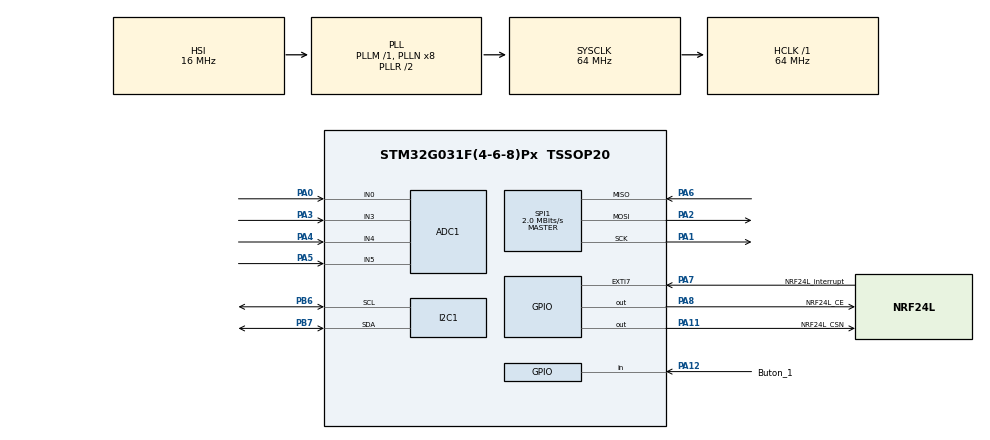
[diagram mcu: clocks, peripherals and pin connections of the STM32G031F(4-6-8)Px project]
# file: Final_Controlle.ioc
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ADC1.Channel-2\#ChannelRegularConversion=ADC_CHANNEL_0
ADC1.ContinuousConvMode=ENABLE
ADC1.NbrOfConversionFlag=1
ADC1.Rank-2\#ChannelRegularConversion=1
ADC1.SamplingTime-2\#ChannelRegularConversion=ADC_SAMPLINGTIME_COMMON_1
ADC1.SelectedChannel=ADC_CHANNEL_0|ADC_CHANNEL_3|ADC_CHANNEL_4|ADC_CHANNEL_5
ADC1.master=1
Dma.ADC1.0.Direction=DMA_PERIPH_TO_MEMORY
Dma.ADC1.0.EventEnable=DISABLE
Dma.ADC1.0.Instance=DMA1_Channel1
Dma.ADC1.0.MemDataAlignment=DMA_MDATAALIGN_WORD
Dma.ADC1.0.MemInc=DMA_MINC_ENABLE
Dma.ADC1.0.Mode=DMA_CIRCULAR
Dma.ADC1.0.PeriphDataAlignment=DMA_PDATAALIGN_WORD
Dma.ADC1.0.PeriphInc=DMA_PINC_DISABLE
Dma.ADC1.0.Polarity=HAL_DMAMUX_REQ_GEN_RISING
Dma.ADC1.0.Priority=DMA_PRIORITY_LOW
Dma.ADC1.0.RequestNumber=1
Dma.ADC1.0.SignalID=NONE
Dma.ADC1.0.SyncEnable=DISABLE
Dma.ADC1.0.SyncPolarity=HAL_DMAMUX_SYNC_NO_EVENT
Dma.ADC1.0.SyncRequestNumber=1
Dma.ADC1.0.SyncSignalID=NONE
Dma.Request0=ADC1
I2C1.Timing=0x10707DBC
Mcu.Family=STM32G0
Mcu.Name=STM32G031F(4-6-8)Px
Mcu.Package=TSSOP20
NVIC.DMA1_Channel1_IRQn=true\:0\:0\:false\:false\:true\:false\:true\:true
PA0.Mode=IN0
PA0.Signal=ADC1_IN0
PA1.Mode=Full_Duplex_Master
PA1.Signal=SPI1_SCK
PA11\ [PA9].GPIO_Label=NRF24L_CSN
PA11\ [PA9].Signal=GPIO_Output
PA12\ [PA10].GPIO_Label=Buton_1
PA12\ [PA10].Signal=GPIO_Input
PA13.Mode=Serial_Wire
PA13.Signal=SYS_SWDIO
PA14-BOOT0.Mode=Serial_Wire
PA14-BOOT0.Signal=SYS_SWCLK
PA14-BOOT0__PA15.StandardMode=true
PA2.Mode=Full_Duplex_Master
PA2.Signal=SPI1_MOSI
PA3.Mode=IN3
PA3.Signal=ADC1_IN3
PA4.Mode=IN4
PA4.Signal=ADC1_IN4
PA5.Mode=IN5
PA5.Signal=ADC1_IN5
PA6.Mode=Full_Duplex_Master
PA6.Signal=SPI1_MISO
PA7.GPIO_Label=NRF24L_interrupt
PA7.Signal=GPXTI7
PA8.GPIO_Label=NRF24L_CE
PA8.Signal=GPIO_Output
PB0__PB1__PB2__PA8.StandardMode=true
PB3__PB4__PB5__PB6.StandardMode=true
PB6.Mode=I2C
PB6.Signal=I2C1_SCL
PB7.Mode=I2C
PB7.Signal=I2C1_SDA
PB7__PB8.StandardMode=true
PC14-OSC32_IN\ (PC14).Mode=LSE-External-Oscillator
PC14-OSC32_IN\ (PC14).Signal=RCC_OSC32_IN
PC14-OSC32_IN\ (PC14)__PB9.StandardMode=true
PC15-OSC32_OUT\ (PC15).Mode=LSE-External-Oscillator
PC15-OSC32_OUT\ (PC15).Signal=RCC_OSC32_OUT
ProjectManager.HeapSize=0x200
ProjectManager.StackSize=0x400
ProjectManager.TargetToolchain=STM32CubeIDE
RCC.ADCFreq_Value=64000000
RCC.AHBFreq_Value=64000000
RCC.CortexFreq_Value=64000000
RCC.EXTERNAL_CLOCK_VALUE=12288000
RCC.HCLKFreq_Value=64000000
RCC.HSE_VALUE=8000000
RCC.HSI_VALUE=16000000
RCC.SYSCLKFreq_VALUE=64000000
RCC.SYSCLKSource=RCC_SYSCLKSOURCE_PLLCLK
RCC.VCOOutputFreq_Value=128000000
SPI1.BaudRatePrescaler=SPI_BAUDRATEPRESCALER_32
SPI1.CalculateBaudRate=2.0 MBits/s
SPI1.Direction=SPI_DIRECTION_2LINES
SPI1.Mode=SPI_MODE_MASTER
SPI1.VirtualType=VM_MASTER
VP_TIM1_VS_ClockSourceINT.Mode=Internal
board=custom

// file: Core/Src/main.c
/* USER CODE BEGIN Header */
/**
  ******************************************************************************
  * @file           : main.c
  * @brief          : Main program body
  ******************************************************************************
  * @attention
  *
  * Copyright (c) 2024 STMicroelectronics.
  * All rights reserved.
  *
  * This software is licensed under terms that can be found in the LICENSE file
  * in the root directory of this software component.
  * If no LICENSE file comes with this software, it is provided AS-IS.
  *
  ******************************************************************************
  */
/* USER CODE END Header */
#include "main.h"

/* USER CODE BEGIN Includes */
#include "i2c-lcd.h"
#include "ssd1306.h"
#include "nRF24L01P.h"
#include "dwt_delay.h"
/* USER CODE END Includes */

/* USER CODE BEGIN PTD */
void NRFSendData(char * nrfID, char * nrfData);
void NRF_main_init(void);

uint32_t adc_values[4];
nRF24L01P myNRF;
char RXBuffer[32];
char TXBuffer[32];
char Adc_Val1[24];
char Adc_Val2[32];
char regStatus;
JoyStick_Val pJoy;
/* USER CODE END PTD */

ADC_HandleTypeDef hadc1;
DMA_HandleTypeDef hdma_adc1;

I2C_HandleTypeDef hi2c1;

SPI_HandleTypeDef hspi1;

TIM_HandleTypeDef htim1;

void SystemClock_Config(void);
static void MX_GPIO_Init(void);
static void MX_DMA_Init(void);
static void MX_ADC1_Init(void);
static void MX_I2C1_Init(void);
static void MX_SPI1_Init(void);
static void MX_TIM1_Init(void);

int main(void)
{

  /* MCU Configuration--------------------------------------------------------*/

  /* Reset of all peripherals, Initializes the Flash interface and the Systick. */
  HAL_Init();

  /* Configure the system clock */
  SystemClock_Config();

  /* Initialize all configured peripherals */
  MX_GPIO_Init();
  MX_DMA_Init();
  MX_ADC1_Init();
  MX_I2C1_Init();
  MX_SPI1_Init();
  MX_TIM1_Init();
  /* USER CODE BEGIN 2 */
  ssd1306_Init();
  HAL_Delay(100);
  DWT_Init();
  NRF_main_init();
  HAL_Delay(1000);
  /* USER CODE END 2 */

  /* Infinite loop */
  while (1)
  {

    /* USER CODE BEGIN 3 */
    	  Joystick_read(&pJoy);
	  HAL_Delay(10);
	  uint16_t T1= __HAL_TIM_SET_COUNTER(&htim1,0);
	  NRFSendData("00000", Adc_Val1);
	  HAL_Delay(100);

  	  if((myNRF.RXIRQ==1) && (!myNRF.Busy))
  	  {
  	  HAL_GPIO_TogglePin(GPIOC, GPIO_PIN_13);
  	 HAL_Delay(10);
  	  myNRF.RXIRQ==0;

  	  }

	  uint16_t T2 = __HAL_TIM_GET_COUNTER(&htim1);

	  uint16_t T= T2-T1;
  }
  /* USER CODE END 3 */
}

void SystemClock_Config(void)
{
  RCC_OscInitTypeDef RCC_OscInitStruct = {0};
  RCC_ClkInitTypeDef RCC_ClkInitStruct = {0};

  /** Configure the main internal regulator output voltage
  */
  HAL_PWREx_ControlVoltageScaling(PWR_REGULATOR_VOLTAGE_SCALE1);

  /** Initializes the RCC Oscillators according to the specified parameters
  * in the RCC_OscInitTypeDef structure.
  */
  RCC_OscInitStruct.OscillatorType = RCC_OSCILLATORTYPE_HSI;
  RCC_OscInitStruct.HSIState = RCC_HSI_ON;
  RCC_OscInitStruct.HSIDiv = RCC_HSI_DIV1;
  RCC_OscInitStruct.HSICalibrationValue = RCC_HSICALIBRATION_DEFAULT;
  RCC_OscInitStruct.PLL.PLLState = RCC_PLL_ON;
  RCC_OscInitStruct.PLL.PLLSource = RCC_PLLSOURCE_HSI;
  RCC_OscInitStruct.PLL.PLLM = RCC_PLLM_DIV1;
  RCC_OscInitStruct.PLL.PLLN = 8;
  RCC_OscInitStruct.PLL.PLLP = RCC_PLLP_DIV2;
  RCC_OscInitStruct.PLL.PLLQ = RCC_PLLQ_DIV2;
  RCC_OscInitStruct.PLL.PLLR = RCC_PLLR_DIV2;
  if (HAL_RCC_OscConfig(&RCC_OscInitStruct) != HAL_OK)
  {
    Error_Handler();
  }

  /** Initializes the CPU, AHB and APB buses clocks
  */
  RCC_ClkInitStruct.ClockType = RCC_CLOCKTYPE_HCLK|RCC_CLOCKTYPE_SYSCLK
                              |RCC_CLOCKTYPE_PCLK1;
  RCC_ClkInitStruct.SYSCLKSource = RCC_SYSCLKSOURCE_PLLCLK;
  RCC_ClkInitStruct.AHBCLKDivider = RCC_SYSCLK_DIV1;
  RCC_ClkInitStruct.APB1CLKDivider = RCC_HCLK_DIV1;

  if (HAL_RCC_ClockConfig(&RCC_ClkInitStruct, FLASH_LATENCY_2) != HAL_OK)
  {
    Error_Handler();
  }
}

static void MX_ADC1_Init(void)
{

  ADC_ChannelConfTypeDef sConfig = {0};

  /** Configure the global features of the ADC (Clock, Resolution, Data Alignment and number of conversion)
  */
  hadc1.Instance = ADC1;
  hadc1.Init.ClockPrescaler = ADC_CLOCK_SYNC_PCLK_DIV2;
  hadc1.Init.Resolution = ADC_RESOLUTION_12B;
  hadc1.Init.DataAlign = ADC_DATAALIGN_RIGHT;
  hadc1.Init.ScanConvMode = ADC_SCAN_DISABLE;
  hadc1.Init.EOCSelection = ADC_EOC_SINGLE_CONV;
  hadc1.Init.LowPowerAutoWait = DISABLE;
  hadc1.Init.LowPowerAutoPowerOff = DISABLE;
  hadc1.Init.ContinuousConvMode = ENABLE;
  hadc1.Init.NbrOfConversion = 1;
  hadc1.Init.ExternalTrigConv = ADC_SOFTWARE_START;
  hadc1.Init.ExternalTrigConvEdge = ADC_EXTERNALTRIGCONVEDGE_NONE;
  hadc1.Init.DMAContinuousRequests = DISABLE;
  hadc1.Init.Overrun = ADC_OVR_DATA_PRESERVED;
  hadc1.Init.SamplingTimeCommon1 = ADC_SAMPLETIME_1CYCLE_5;
  hadc1.Init.SamplingTimeCommon2 = ADC_SAMPLETIME_1CYCLE_5;
  hadc1.Init.OversamplingMode = DISABLE;
  hadc1.Init.TriggerFrequencyMode = ADC_TRIGGER_FREQ_HIGH;
  if (HAL_ADC_Init(&hadc1) != HAL_OK)
  {
    Error_Handler();
  }

  /** Configure Regular Channel
  */
  sConfig.Channel = ADC_CHANNEL_0;
  sConfig.Rank = ADC_REGULAR_RANK_1;
  sConfig.SamplingTime = ADC_SAMPLINGTIME_COMMON_1;
  if (HAL_ADC_ConfigChannel(&hadc1, &sConfig) != HAL_OK)
  {
    Error_Handler();
  }

}

static void MX_I2C1_Init(void)
{

  hi2c1.Instance = I2C1;
  hi2c1.Init.Timing = 0x10707DBC;
  hi2c1.Init.OwnAddress1 = 0;
  hi2c1.Init.AddressingMode = I2C_ADDRESSINGMODE_7BIT;
  hi2c1.Init.DualAddressMode = I2C_DUALADDRESS_DISABLE;
  hi2c1.Init.OwnAddress2 = 0;
  hi2c1.Init.OwnAddress2Masks = I2C_OA2_NOMASK;
  hi2c1.Init.GeneralCallMode = I2C_GENERALCALL_DISABLE;
  hi2c1.Init.NoStretchMode = I2C_NOSTRETCH_DISABLE;
  if (HAL_I2C_Init(&hi2c1) != HAL_OK)
  {
    Error_Handler();
  }

  /** Configure Analogue filter
  */
  if (HAL_I2CEx_ConfigAnalogFilter(&hi2c1, I2C_ANALOGFILTER_ENABLE) != HAL_OK)
  {
    Error_Handler();
  }

  /** Configure Digital filter
  */
  if (HAL_I2CEx_ConfigDigitalFilter(&hi2c1, 0) != HAL_OK)
  {
    Error_Handler();
  }

}

static void MX_SPI1_Init(void)
{

  /* SPI1 parameter configuration*/
  hspi1.Instance = SPI1;
  hspi1.Init.Mode = SPI_MODE_MASTER;
  hspi1.Init.Direction = SPI_DIRECTION_2LINES;
  hspi1.Init.DataSize = SPI_DATASIZE_8BIT;
  hspi1.Init.CLKPolarity = SPI_POLARITY_LOW;
  hspi1.Init.CLKPhase = SPI_PHASE_1EDGE;
  hspi1.Init.NSS = SPI_NSS_SOFT;
  hspi1.Init.BaudRatePrescaler = SPI_BAUDRATEPRESCALER_32;
  hspi1.Init.FirstBit = SPI_FIRSTBIT_MSB;
  hspi1.Init.TIMode = SPI_TIMODE_DISABLE;
  hspi1.Init.CRCCalculation = SPI_CRCCALCULATION_DISABLE;
  hspi1.Init.CRCPolynomial = 7;
  hspi1.Init.CRCLength = SPI_CRC_LENGTH_DATASIZE;
  hspi1.Init.NSSPMode = SPI_NSS_PULSE_ENABLE;
  if (HAL_SPI_Init(&hspi1) != HAL_OK)
  {
    Error_Handler();
  }

}

static void MX_TIM1_Init(void)
{

  TIM_ClockConfigTypeDef sClockSourceConfig = {0};
  TIM_MasterConfigTypeDef sMasterConfig = {0};

  htim1.Instance = TIM1;
  htim1.Init.Prescaler = 0;
  htim1.Init.CounterMode = TIM_COUNTERMODE_UP;
  htim1.Init.Period = 65535;
  htim1.Init.ClockDivision = TIM_CLOCKDIVISION_DIV1;
  htim1.Init.RepetitionCounter = 0;
  htim1.Init.AutoReloadPreload = TIM_AUTORELOAD_PRELOAD_DISABLE;
  if (HAL_TIM_Base_Init(&htim1) != HAL_OK)
  {
    Error_Handler();
  }
  sClockSourceConfig.ClockSource = TIM_CLOCKSOURCE_INTERNAL;
  if (HAL_TIM_ConfigClockSource(&htim1, &sClockSourceConfig) != HAL_OK)
  {
    Error_Handler();
  }
  sMasterConfig.MasterOutputTrigger = TIM_TRGO_RESET;
  sMasterConfig.MasterOutputTrigger2 = TIM_TRGO2_RESET;
  sMasterConfig.MasterSlaveMode = TIM_MASTERSLAVEMODE_DISABLE;
  if (HAL_TIMEx_MasterConfigSynchronization(&htim1, &sMasterConfig) != HAL_OK)
  {
    Error_Handler();
  }

}

static void MX_DMA_Init(void)
{

  /* DMA controller clock enable */
  __HAL_RCC_DMA1_CLK_ENABLE();

  /* DMA interrupt init */
  /* DMA1_Channel1_IRQn interrupt configuration */
  HAL_NVIC_SetPriority(DMA1_Channel1_IRQn, 0, 0);
  HAL_NVIC_EnableIRQ(DMA1_Channel1_IRQn);

}

static void MX_GPIO_Init(void)
{
  GPIO_InitTypeDef GPIO_InitStruct = {0};

  /* GPIO Ports Clock Enable */
  __HAL_RCC_GPIOB_CLK_ENABLE();
  __HAL_RCC_GPIOC_CLK_ENABLE();
  __HAL_RCC_GPIOA_CLK_ENABLE();

  /*Configure GPIO pin Output Level */
  HAL_GPIO_WritePin(GPIOA, NRF24L_CE_Pin|NRF24L_CSN_Pin, GPIO_PIN_RESET);

  /*Configure GPIO pin : NRF24L_interrupt_Pin */
  GPIO_InitStruct.Pin = NRF24L_interrupt_Pin;
  GPIO_InitStruct.Mode = GPIO_MODE_IT_RISING;
  GPIO_InitStruct.Pull = GPIO_NOPULL;
  HAL_GPIO_Init(NRF24L_interrupt_GPIO_Port, &GPIO_InitStruct);

  /*Configure GPIO pins : NRF24L_CE_Pin NRF24L_CSN_Pin */
  GPIO_InitStruct.Pin = NRF24L_CE_Pin|NRF24L_CSN_Pin;
  GPIO_InitStruct.Mode = GPIO_MODE_OUTPUT_PP;
  GPIO_InitStruct.Pull = GPIO_NOPULL;
  GPIO_InitStruct.Speed = GPIO_SPEED_FREQ_LOW;
  HAL_GPIO_Init(GPIOA, &GPIO_InitStruct);

  /*Configure GPIO pin : Buton_1_Pin */
  GPIO_InitStruct.Pin = Buton_1_Pin;
  GPIO_InitStruct.Mode = GPIO_MODE_INPUT;
  GPIO_InitStruct.Pull = GPIO_NOPULL;
  HAL_GPIO_Init(Buton_1_GPIO_Port, &GPIO_InitStruct);

}

/* USER CODE BEGIN 4 */
void HAL_GPIO_EXTI_Callback(uint16_t GPIO_Pin)
{
	if(GPIO_Pin == GPIO_PIN_2)
	{
		if(HAL_nRF24L01P_IRQ_Handler(&myNRF) != HAL_OK)
		{
			Error_Handler();
		}
		HAL_nRF24L01P_ReadRegister(&myNRF, nRF_STATUS, &regStatus);
	}
}
void NRFSendData(char * nrfID, char * nrfData)
{
	HAL_nRF24L01P_SetPTXAddress(&myNRF, (uint8_t *) nrfID);
	if(HAL_nRF24L01P_TransmitPacketACK(&myNRF, (uint8_t *) nrfData, nRF_DATA_PIPE_0) != HAL_OK)
	{
		//Error
	}
}

void NRF_main_init(void)
{
	/* ---- myNRF24L01+ Definitions ---- */
	myNRF.hspi = &hspi1;
	myNRF.CRC_Width = nRF_CRC_WIDTH_BYTE;
	myNRF.ADDR_Width = nRF_ADDR_WIDTH_5;
	myNRF.Data_Rate = nRF_DATA_RATE_2MBPS;
	myNRF.TX_Power = nRF_TX_PWR_M18dBm;
	myNRF.State = nRF_STATE_RX;

	myNRF.RF_Channel = 1;
	myNRF.PayloadWidth = nRF_RXPW_32BYTES;
	myNRF.RetransmitCount = nRF_RETX_DISABLED;// nRF_RETX_COUNT_15;
	myNRF.RetransmitDelay = nRF_RETX_DELAY_250uS; //nRF_RETX_DELAY_4000uS;

	myNRF.RX_Address = (uint8_t *)"00001";
	myNRF.TX_Address = (uint8_t *)"00000";

	myNRF.RX_Buffer = RXBuffer;
	myNRF.TX_Buffer = TXBuffer;

	myNRF.nRF_nSS_GPIO_PORT = GPIOB;
	myNRF.nRF_nSS_GPIO_PIN = GPIO_PIN_1;

	myNRF.nRF_CE_GPIO_PORT = GPIOB;
	myNRF.nRF_CE_GPIO_PIN = GPIO_PIN_0;

	//ekleme
	myNRF.RXIRQ = 0;
	myNRF.TXIRQ = 0;
	myNRF.MaxReIRQ = 0;
	/* ---- myNRF24L01+ Definitions ---- */

	if(HAL_nRF24L01P_Init(&myNRF) != HAL_OK)
	{
		Error_Handler();
	}

}
void Lcd_update(uint8_t vol){

	ssd1306_SetCursor(12,0);
	ssd1306_WriteString("Battery Voltage", Font_7x10, White);
	char str[4];
	ssd1306_SetCursor(45,12);
	uint8_t vol1=vol/10;
	uint8_t vol2=vol%10;
	sprintf(str, "%d", vol1);
	ssd1306_WriteString(str, Font_11x18, White);
	ssd1306_SetCursor(57,12);
	ssd1306_WriteString(".", Font_11x18, White);
	sprintf(str, "%d", vol2);
	ssd1306_SetCursor(68,12);
	ssd1306_WriteString(str, Font_11x18, White);
	ssd1306_UpdateScreen();
}
void Joystick_read(JoyStick_Val *pJoy){
	HAL_ADC_Start_DMA(&hadc1, adc_values, 4); //ADC Read for JOysticks
	uint16_t JoyStick_Throttle_Val = adc_values[1];

	if(JoyStick_Throttle_Val >=2100){
		JoyStick_Throttle_Val = (JoyStick_Throttle_Val - 2100)/8;		//For 8 Bit Value Trasfer
		pJoy->Trottle_pos_Up = JoyStick_Throttle_Val;
		pJoy->Trottle_pos_Down=0;
	}
	else if (JoyStick_Throttle_Val <=1900){
		JoyStick_Throttle_Val = ( 1900 - JoyStick_Throttle_Val)/8;
		pJoy->Trottle_pos_Down = JoyStick_Throttle_Val;
		pJoy->Trottle_pos_Up =0;
	}
	else{
		pJoy->Trottle_pos_Up=0;
		pJoy->Trottle_pos_Down=0;
	}

	uint16_t JoyStick_Yaw_Val = adc_values[0];

	if(JoyStick_Yaw_Val >=2100){
		JoyStick_Yaw_Val = (JoyStick_Yaw_Val - 2100)/8;		//For 8 Bit Value Trasfer
		pJoy->Yaw_pos_Right = JoyStick_Yaw_Val;
		pJoy->Yaw_pos_Left = 0;
		}
	else if (JoyStick_Yaw_Val <=1900){
		JoyStick_Yaw_Val = ( 1900 - JoyStick_Yaw_Val)/8;
		pJoy->Yaw_pos_Left = JoyStick_Yaw_Val;
		pJoy->Yaw_pos_Right = 0;
		}
	else{
			pJoy->Yaw_pos_Right=0;
			pJoy->Yaw_pos_Left=0;
		}
	uint16_t JoyStick_Roll_Val = adc_values[3];

	if(JoyStick_Roll_Val >=2100){
		JoyStick_Roll_Val = (JoyStick_Roll_Val - 2100)/8;		//For 8 Bit Value Trasfer
		pJoy->Roll_pos_Left = JoyStick_Roll_Val;
		pJoy->Roll_pos_Right = 0;
		}
	else if (JoyStick_Roll_Val <=1900){
		JoyStick_Roll_Val = ( 1900 - JoyStick_Roll_Val)/8;
		pJoy->Roll_pos_Right = JoyStick_Roll_Val;
		pJoy->Roll_pos_Left = 0;
		}
	else{
			pJoy->Roll_pos_Right=0;
			pJoy->Roll_pos_Left=0;
		}
	uint16_t JoyStick_Pitch_Val = adc_values[2];

	if(JoyStick_Pitch_Val >=2100){
		JoyStick_Pitch_Val = (JoyStick_Pitch_Val - 2100)/8;		//For 8 Bit Value Trasfer
		pJoy->Pitch_pos_Up = JoyStick_Pitch_Val;
		pJoy->Pitch_pos_Down = 0;
		}
	else if (JoyStick_Pitch_Val <=1900){
		JoyStick_Pitch_Val = ( 1900 - JoyStick_Pitch_Val)/8;
		pJoy->Pitch_pos_Down = JoyStick_Pitch_Val;
		pJoy->Pitch_pos_Up = 0;
		}
	else{
			pJoy->Pitch_pos_Up=0;
			pJoy->Pitch_pos_Down=0;
		}

	uint8_t ADC11=pJoy->Trottle_pos_Up;
	uint8_t ADC2=pJoy->Trottle_pos_Down;
	uint8_t ADC3=pJoy->Yaw_pos_Right;
	uint8_t ADC4=pJoy->Yaw_pos_Left;
	uint8_t ADC5=pJoy->Roll_pos_Left;
	uint8_t ADC6=pJoy->Roll_pos_Right;
	uint8_t ADC7=pJoy->Pitch_pos_Up;
	uint8_t ADC8=pJoy->Pitch_pos_Down;

	sprintf(Adc_Val1, "%0.3i%0.3i%0.3i%0.3i%0.3i%0.3i%0.3i%0.3i", ADC11,ADC2,ADC3,ADC4, ADC5,ADC6,ADC7,ADC8);
	HAL_Delay(1);
}
/* USER CODE END 4 */

void Error_Handler(void)
{
  __disable_irq();
  while (1)
  {
  }
}
